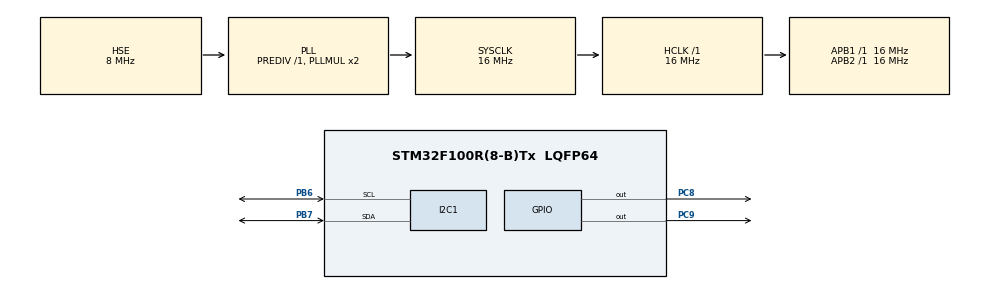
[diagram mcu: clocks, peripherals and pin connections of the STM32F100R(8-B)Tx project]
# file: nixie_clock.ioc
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Mcu.Family=STM32F1
Mcu.Name=STM32F100R(8-B)Tx
Mcu.Package=LQFP64
NVIC.I2C1_ER_IRQn=true\:0\:0\:false\:true\:true\:2
NVIC.I2C1_EV_IRQn=true\:5\:0\:true\:true\:true\:1
NVIC.PriorityGroup=NVIC_PRIORITYGROUP_4
PA13.Mode=Serial_Wire
PA13.Signal=SYS_JTMS-SWDIO
PA14.Mode=Serial_Wire
PA14.Signal=SYS_JTCK-SWCLK
PB6.GPIO_Speed=GPIO_SPEED_FREQ_LOW
PB6.Mode=I2C
PB6.Signal=I2C1_SCL
PB7.GPIO_Speed=GPIO_SPEED_FREQ_LOW
PB7.Mode=I2C
PB7.Signal=I2C1_SDA
PC8.Signal=GPIO_Output
PC9.Signal=GPIO_Output
PD0-OSC_IN.Mode=HSE-External-Oscillator
PD0-OSC_IN.Signal=RCC_OSC_IN
PD1-OSC_OUT.Mode=HSE-External-Oscillator
PD1-OSC_OUT.Signal=RCC_OSC_OUT
ProjectManager.HeapSize=0x200
ProjectManager.StackSize=0x400
ProjectManager.TargetToolchain=SW4STM32
RCC.AHBFreq_Value=16000000
RCC.APB1Freq_Value=16000000
RCC.APB1TimFreq_Value=16000000
RCC.APB2Freq_Value=16000000
RCC.APB2TimFreq_Value=16000000
RCC.HCLKFreq_Value=16000000
RCC.PLLSource=RCC_PLLSOURCE_HSE
RCC.SYSCLKFreq_VALUE=16000000
RCC.SYSCLKSource=RCC_SYSCLKSOURCE_PLLCLK
board=nixie_clock

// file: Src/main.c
/**
  ******************************************************************************
  * File Name          : main.c
  * Description        : Main program body
  ******************************************************************************
  *
  * COPYRIGHT(c) 2016 STMicroelectronics
  *
  * Redistribution and use in source and binary forms, with or without modification,
  * are permitted provided that the following conditions are met:
  *   1. Redistributions of source code must retain the above copyright notice,
  *      this list of conditions and the following disclaimer.
  *   2. Redistributions in binary form must reproduce the above copyright notice,
  *      this list of conditions and the following disclaimer in the documentation
  *      and/or other materials provided with the distribution.
  *   3. Neither the name of STMicroelectronics nor the names of its contributors
  *      may be used to endorse or promote products derived from this software
  *      without specific prior written permission.
  *
  * THIS SOFTWARE IS PROVIDED BY THE COPYRIGHT HOLDERS AND CONTRIBUTORS "AS IS"
  * AND ANY EXPRESS OR IMPLIED WARRANTIES, INCLUDING, BUT NOT LIMITED TO, THE
  * IMPLIED WARRANTIES OF MERCHANTABILITY AND FITNESS FOR A PARTICULAR PURPOSE ARE
  * DISCLAIMED. IN NO EVENT SHALL THE COPYRIGHT HOLDER OR CONTRIBUTORS BE LIABLE
  * FOR ANY DIRECT, INDIRECT, INCIDENTAL, SPECIAL, EXEMPLARY, OR CONSEQUENTIAL
  * DAMAGES (INCLUDING, BUT NOT LIMITED TO, PROCUREMENT OF SUBSTITUTE GOODS OR
  * SERVICES; LOSS OF USE, DATA, OR PROFITS; OR BUSINESS INTERRUPTION) HOWEVER
  * CAUSED AND ON ANY THEORY OF LIABILITY, WHETHER IN CONTRACT, STRICT LIABILITY,
  * OR TORT (INCLUDING NEGLIGENCE OR OTHERWISE) ARISING IN ANY WAY OUT OF THE USE
  * OF THIS SOFTWARE, EVEN IF ADVISED OF THE POSSIBILITY OF SUCH DAMAGE.
  *
  ******************************************************************************
  */
#include "main.h"
#include "stm32f1xx_hal.h"

I2C_HandleTypeDef hi2c1;

/* USER CODE BEGIN PV */
/* Private variables ---------------------------------------------------------*/

/* USER CODE END PV */

void SystemClock_Config(void);
void Error_Handler(void);
static void MX_GPIO_Init(void);
static void MX_I2C1_Init(void);
static void MX_NVIC_Init(void);

/* USER CODE BEGIN PFP */
/* Private function prototypes -----------------------------------------------*/

/* USER CODE END PFP */

/* USER CODE BEGIN 0 */

uint8_t i2c_data_buffer;
uint16_t AC1 = 0;
void HAL_I2C_MasterRxCpltCallback(I2C_HandleTypeDef *hi2c) {
    HAL_GPIO_WritePin(GPIOC, GPIO_PIN_9, GPIO_PIN_SET);
    if (AC1 == 0) {
        AC1 = i2c_data_buffer << 8;
    } else {
        AC1 += i2c_data_buffer;
    }
}
/* USER CODE END 0 */

int main(void)
{

  /* MCU Configuration----------------------------------------------------------*/

  /* Reset of all peripherals, Initializes the Flash interface and the Systick. */
  HAL_Init();

  /* Configure the system clock */
  SystemClock_Config();

  /* Initialize all configured peripherals */
  MX_GPIO_Init();
  MX_I2C1_Init();

  /* Initialize interrupts */
  MX_NVIC_Init();

  /* USER CODE BEGIN 2 */

    __HAL_RCC_I2C1_FORCE_RESET();
    HAL_Delay(1000);
    __HAL_RCC_I2C1_RELEASE_RESET();

  /* USER CODE END 2 */

  /* Infinite loop */
  /* USER CODE BEGIN WHILE */
    int iteration = 0;
    HAL_GPIO_WritePin(GPIOC, GPIO_PIN_8 | GPIO_PIN_9, GPIO_PIN_RESET);

    HAL_I2C_Master_Receive_IT(&hi2c1, 0xAA, &i2c_data_buffer, 1);
    //HAL_I2C_Master_Receive_IT(&hi2c1, 0xAB, &i2c_data_buffer, 1);
    while (1) {
        for (int i = 0; i < 500000; ++i) {}
        HAL_GPIO_TogglePin(GPIOC, GPIO_PIN_8);
        iteration++;

  /* USER CODE END WHILE */

    }

}

/** System Clock Configuration
*/
void SystemClock_Config(void)
{

  RCC_OscInitTypeDef RCC_OscInitStruct;
  RCC_ClkInitTypeDef RCC_ClkInitStruct;

    /**Initializes the CPU, AHB and APB busses clocks
    */
  RCC_OscInitStruct.OscillatorType = RCC_OSCILLATORTYPE_HSE;
  RCC_OscInitStruct.HSEState = RCC_HSE_ON;
  RCC_OscInitStruct.HSEPredivValue = RCC_HSE_PREDIV_DIV1;
  RCC_OscInitStruct.PLL.PLLState = RCC_PLL_ON;
  RCC_OscInitStruct.PLL.PLLSource = RCC_PLLSOURCE_HSE;
  RCC_OscInitStruct.PLL.PLLMUL = RCC_PLL_MUL2;
  if (HAL_RCC_OscConfig(&RCC_OscInitStruct) != HAL_OK)
  {
    Error_Handler();
  }

    /**Initializes the CPU, AHB and APB busses clocks
    */
  RCC_ClkInitStruct.ClockType = RCC_CLOCKTYPE_HCLK|RCC_CLOCKTYPE_SYSCLK
                              |RCC_CLOCKTYPE_PCLK1|RCC_CLOCKTYPE_PCLK2;
  RCC_ClkInitStruct.SYSCLKSource = RCC_SYSCLKSOURCE_PLLCLK;
  RCC_ClkInitStruct.AHBCLKDivider = RCC_SYSCLK_DIV1;
  RCC_ClkInitStruct.APB1CLKDivider = RCC_HCLK_DIV1;
  RCC_ClkInitStruct.APB2CLKDivider = RCC_HCLK_DIV1;

  if (HAL_RCC_ClockConfig(&RCC_ClkInitStruct, FLASH_LATENCY_0) != HAL_OK)
  {
    Error_Handler();
  }

    /**Configure the Systick interrupt time
    */
  HAL_SYSTICK_Config(HAL_RCC_GetHCLKFreq()/1000);

    /**Configure the Systick
    */
  HAL_SYSTICK_CLKSourceConfig(SYSTICK_CLKSOURCE_HCLK);

  /* SysTick_IRQn interrupt configuration */
  HAL_NVIC_SetPriority(SysTick_IRQn, 0, 0);
}

/** NVIC Configuration
*/
static void MX_NVIC_Init(void)
{
  /* I2C1_EV_IRQn interrupt configuration */
  HAL_NVIC_SetPriority(I2C1_EV_IRQn, 5, 0);
  HAL_NVIC_EnableIRQ(I2C1_EV_IRQn);
  /* I2C1_ER_IRQn interrupt configuration */
  HAL_NVIC_SetPriority(I2C1_ER_IRQn, 0, 0);
  HAL_NVIC_EnableIRQ(I2C1_ER_IRQn);
}

/* I2C1 init function */
static void MX_I2C1_Init(void)
{

  hi2c1.Instance = I2C1;
  hi2c1.Init.ClockSpeed = 1000;
  hi2c1.Init.DutyCycle = I2C_DUTYCYCLE_2;
  hi2c1.Init.OwnAddress1 = 0;
  hi2c1.Init.AddressingMode = I2C_ADDRESSINGMODE_7BIT;
  hi2c1.Init.DualAddressMode = I2C_DUALADDRESS_DISABLE;
  hi2c1.Init.OwnAddress2 = 0;
  hi2c1.Init.GeneralCallMode = I2C_GENERALCALL_DISABLE;
  hi2c1.Init.NoStretchMode = I2C_NOSTRETCH_DISABLE;
  if (HAL_I2C_Init(&hi2c1) != HAL_OK)
  {
    Error_Handler();
  }

}

/** Configure pins as
        * Analog
        * Input
        * Output
        * EVENT_OUT
        * EXTI
*/
static void MX_GPIO_Init(void)
{

  GPIO_InitTypeDef GPIO_InitStruct;

  /* GPIO Ports Clock Enable */
  __HAL_RCC_GPIOD_CLK_ENABLE();
  __HAL_RCC_GPIOC_CLK_ENABLE();
  __HAL_RCC_GPIOA_CLK_ENABLE();
  __HAL_RCC_GPIOB_CLK_ENABLE();

  /*Configure GPIO pin Output Level */
  HAL_GPIO_WritePin(GPIOC, GPIO_PIN_8|GPIO_PIN_9, GPIO_PIN_RESET);

  /*Configure GPIO pins : PC8 PC9 */
  GPIO_InitStruct.Pin = GPIO_PIN_8|GPIO_PIN_9;
  GPIO_InitStruct.Mode = GPIO_MODE_OUTPUT_PP;
  GPIO_InitStruct.Speed = GPIO_SPEED_FREQ_LOW;
  HAL_GPIO_Init(GPIOC, &GPIO_InitStruct);

}

void Error_Handler(void)
{
  while(1)
  {
  }
}

/************************ (C) COPYRIGHT STMicroelectronics *****END OF FILE****/
